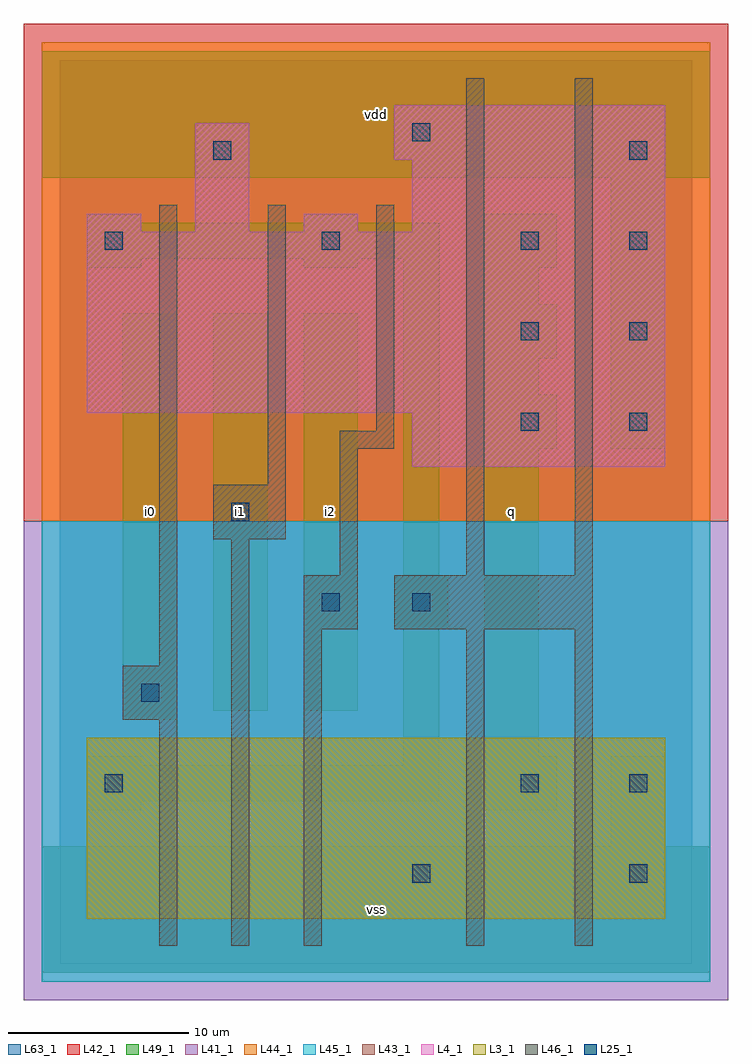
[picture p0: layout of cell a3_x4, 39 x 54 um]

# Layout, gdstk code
import gdstk
lib = gdstk.Library(unit=1e-6, precision=1e-09)
def R(c, l, rs):  # rectangles x0, y0, x1, y1
    for r in rs: c.add(gdstk.rectangle(r[:2], r[2:], *l))
def A(c, l, x, y, w, h, nx, ny, dx, dy):  # array of equal rectangles
    R(c, l, [(x+i*dx, y+j*dy, x+i*dx+w, y+j*dy+h) for i in range(nx) for j in range(ny)])
L3_1 = (3, 1)
L4_1 = (4, 1)
L25_1 = (25, 1)
L41_1 = (41, 1)
L42_1 = (42, 1)
L43_1 = (43, 1)
L44_1 = (44, 1)
L45_1 = (45, 1)
L46_1 = (46, 1)
L49_1 = (49, 1)
L63_1 = (63, 1)

a3_x4 = lib.new_cell('a3_x4')
R(a3_x4, L3_1, [(1.5,2.5,33.5,12.5)])
R(a3_x4, L4_1, [(19.5,27.5,33.5,30.5), (1.5,30.5,33.5,40.5), (1.5,40.5,4.5,41.5), (7.5,40.5,10.5,46.5), (13.5,40.5,16.5,41.5), (19.5,40.5,33.5,44.5), (18.5,44.5,33.5,47.5)])
A(a3_x4, L25_1, 25.5, 29.5, 1, 1, 1, 3, 0, 5)
A(a3_x4, L25_1, 31.5, 29.5, 1, 1, 1, 4, 0, 5)
R(a3_x4, L25_1, [(19.5,4.5,20.5,5.5), (31.5,4.5,32.5,5.5), (2.5,9.5,3.5,10.5), (25.5,9.5,26.5,10.5), (31.5,9.5,32.5,10.5), (4.5,14.5,5.5,15.5), (14.5,19.5,15.5,20.5), (19.5,19.5,20.5,20.5), (9.5,24.5,10.5,25.5), (2.5,39.5,3.5,40.5), (14.5,39.5,15.5,40.5), (8.5,44.5,9.5,45.5), (19.5,45.5,20.5,46.5)])
R(a3_x4, L41_1, [(-2,-2,37,24.5)])
R(a3_x4, L42_1, [(-2,24.5,37,52)])
R(a3_x4, L43_1, [(1.5,2.5,33.5,12.5), (19.5,27.5,33.5,30.5), (1.5,30.5,33.5,40.5), (1.5,40.5,4.5,41.5), (7.5,40.5,10.5,46.5), (13.5,40.5,16.5,41.5), (19.5,40.5,33.5,44.5), (18.5,44.5,33.5,47.5)])
R(a3_x4, L44_1, [(-1,24.5,36,51)])
R(a3_x4, L45_1, [(-1,-1,36,24.5)])
R(a3_x4, L46_1, [(5.5,1,6.5,13.5), (9.5,1,10.5,23.5), (13.5,1,14.5,18.5), (22.5,1,23.5,18.5), (28.5,1,29.5,18.5), (3.5,13.5,6.5,16.5), (5.5,16.5,6.5,42), (13.5,18.5,16.5,21.5), (18.5,18.5,29.5,21.5), (15.5,21.5,16.5,28.5), (22.5,21.5,23.5,49), (28.5,21.5,29.5,49), (8.5,23.5,12.5,26.5), (11.5,26.5,12.5,42), (15.5,28.5,18.5,29.5), (17.5,29.5,18.5,42)])
A(a3_x4, L49_1, 23.5, 28.5, 4, 3, 1, 3, 0, 5)
R(a3_x4, L49_1, [(-1,-0.5,36,6.5), (30.5,6.5,33.5,11.5), (1.5,8.5,4.5,9), (23.5,8.5,27.5,11.5), (1.5,9,21,11), (1.5,11,4.5,11.5), (19,11,21,18.5), (23.5,11.5,26.5,28.5), (3.5,13.5,6.5,36), (8.5,14,11.5,36), (13.5,14,16.5,36), (18.5,18.5,21.5,21.5), (19,21.5,21,39), (30.5,28.5,33.5,43.5), (23.5,31.5,26.5,33.5), (23.5,36.5,26.5,38.5), (1.5,38.5,4.5,39), (13.5,38.5,16.5,39), (1.5,39,21,41), (1.5,41,4.5,41.5), (13.5,41,16.5,41.5), (-1,43.5,36,50.5)])
R(a3_x4, L63_1, [(0,0,35,50)])
a3_x4.add(gdstk.Label('i0', (5,25), layer=49, texttype=1))
a3_x4.add(gdstk.Label('i0', (5,25), layer=49, texttype=1))
a3_x4.add(gdstk.Label('i2', (15,25), layer=49, texttype=1))
a3_x4.add(gdstk.Label('i1', (10,25), layer=49, texttype=1))
a3_x4.add(gdstk.Label('i1', (10,25), layer=49, texttype=1))
a3_x4.add(gdstk.Label('i2', (15,25), layer=49, texttype=1))
a3_x4.add(gdstk.Label('vss', (17.5,3), layer=49, texttype=1))
a3_x4.add(gdstk.Label('vss', (17.5,3), layer=49, texttype=1))
a3_x4.add(gdstk.Label('q', (25,25), layer=49, texttype=1))
a3_x4.add(gdstk.Label('q', (25,25), layer=49, texttype=1))
a3_x4.add(gdstk.Label('vdd', (17.5,47), layer=49, texttype=1))
a3_x4.add(gdstk.Label('vdd', (17.5,47), layer=49, texttype=1))

lib.write_gds('a3_x4.gds')
